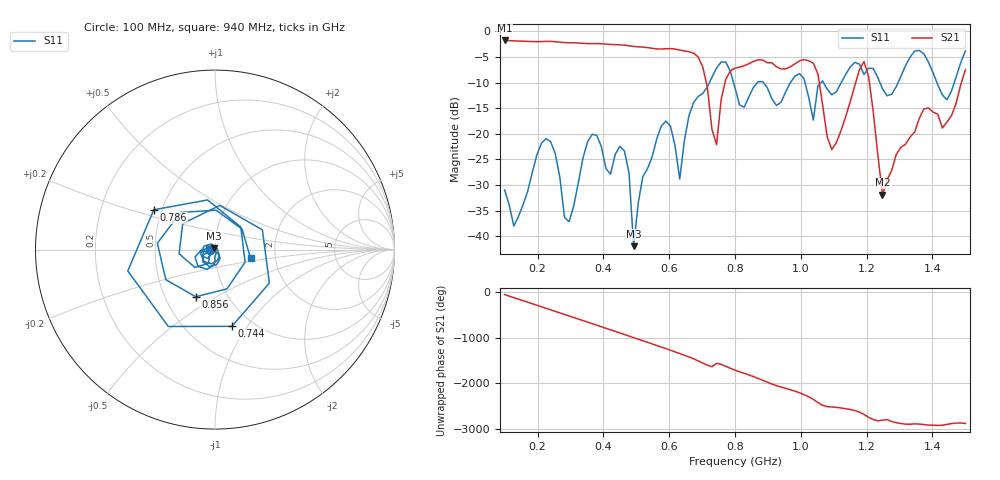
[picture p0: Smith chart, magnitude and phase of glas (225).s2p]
! NanoVNA-App
! Date: 2025-09-25 15:57:13
! Start: 100MHz Stop: 1,5GHz Points: 101
! S-Parameter data: F S11 S21 S12 S22
# Hz S RI R 50
!  Frequency  S11_Real  S11_Imag  S21_Real  S21_Imag  S12_Real  S12_Imag  S22_Real  S22_Imag
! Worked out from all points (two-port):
!   101 points, 100 MHz to 1.5 GHz, reference 50 ohm
!   highest |S21| = -1.80 dB at 100 MHz (marker M1); lowest = -31.9 dB at 1.248 GHz (marker M2)
!   |S21| within 3 dB of the highest: start of sweep to 684.2 MHz
!   lowest |S11| = -41.9 dB at 492 MHz (marker M3), VSWR 1.02, Z = 49.5 + j0.635 ohm
!   |S11| at or under -10 dB: start of sweep to 722.4 MHz; 795.4 MHz to 868.2 MHz (72.83 MHz wide, 8.76 % of centre); 886.2 MHz to 968.4 MHz (82.19 MHz wide, 8.86 % of centre) (the widest 3 of 7)
!   S12 and S22 are empty: the file has one direction only
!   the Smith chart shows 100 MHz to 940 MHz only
!   S11 on the Smith chart (normalised r, x): 100 MHz: 0.95, -0.01; 744 MHz: 0.81, -0.85; 786 MHz: 0.45, +0.24; 856 MHz: 0.71, -0.41; 940 MHz: 1.49, -0.15
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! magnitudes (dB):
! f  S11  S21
! 100 MHz  -30.9  -1.8
! 128 MHz  -38.0  -1.9
! 226 MHz  -20.9  -2.0
! 296 MHz  -37.1  -2.2
! 338 MHz  -24.7  -2.4
! 464 MHz  -23.3  -2.7
! 492 MHz  -41.9  -3.0
! 576 MHz  -18.5  -3.5
! 632 MHz  -28.8  -3.7
! 702 MHz  -12.1  -7.0
! 744 MHz  -7.2  -22.1
! 786 MHz  -7.8  -7.7
! 800 MHz  -11.1  -7.2
! 856 MHz  -10.9  -5.9
! 940 MHz  -13.8  -7.4
! 996 MHz  -8.3  -5.8
! 1.038 GHz  -17.3  -6.2
! 1.094 GHz  -12.4  -23.0
! 1.192 GHz  -8.4  -5.9
! 1.248 GHz  -11.2  -31.9
! 1.276 GHz  -12.3  -27.1
! 1.5 GHz  -3.9  -7.5
